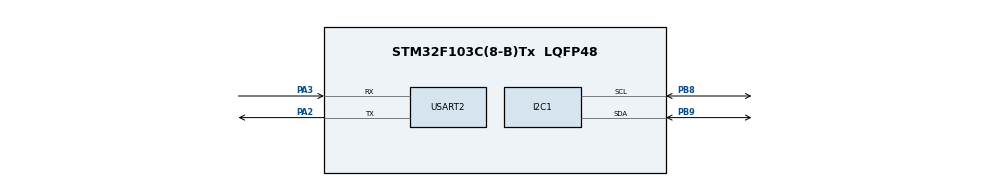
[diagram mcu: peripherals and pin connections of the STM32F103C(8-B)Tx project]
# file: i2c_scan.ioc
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Mcu.Family=STM32F1
Mcu.Name=STM32F103C(8-B)Tx
Mcu.Package=LQFP48
NVIC.PriorityGroup=NVIC_PRIORITYGROUP_4
PA13.Mode=Serial_Wire
PA13.Signal=SYS_JTMS-SWDIO
PA14.Mode=Serial_Wire
PA14.Signal=SYS_JTCK-SWCLK
PA2.Mode=Asynchronous
PA2.Signal=USART2_TX
PA3.Mode=Asynchronous
PA3.Signal=USART2_RX
PB8.Mode=I2C
PB8.Signal=I2C1_SCL
PB9.Mode=I2C
PB9.Signal=I2C1_SDA
PD0-OSC_IN.Mode=HSE-External-Oscillator
PD0-OSC_IN.Signal=RCC_OSC_IN
PD1-OSC_OUT.Mode=HSE-External-Oscillator
PD1-OSC_OUT.Signal=RCC_OSC_OUT
ProjectManager.HeapSize=0x200
ProjectManager.StackSize=0x400
ProjectManager.TargetToolchain=STM32CubeIDE
RCC.APB1Freq_Value=8000000
RCC.APB2Freq_Value=8000000
USART2.VirtualMode=VM_ASYNC
board=custom

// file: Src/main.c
/* USER CODE BEGIN Header */
/**
  ******************************************************************************
  * @file           : main.c
  * @brief          : Main program body
  ******************************************************************************
  * @attention
  *
  * <h2><center>&copy; Copyright (c) 2019 STMicroelectronics.
  * All rights reserved.</center></h2>
  *
  * This software component is licensed by ST under BSD 3-Clause license,
  * the "License"; You may not use this file except in compliance with the
  * License. You may obtain a copy of the License at:
  *                        opensource.org/licenses/BSD-3-Clause
  *
  ******************************************************************************
  */
/* USER CODE END Header */

#include "main.h"

/* USER CODE BEGIN PD */
#define  INT_BYPASS 0x37

/* USER CODE END PD */

I2C_HandleTypeDef hi2c1;

UART_HandleTypeDef huart2;

void SystemClock_Config(void);
static void MX_GPIO_Init(void);
static void MX_I2C1_Init(void);
static void MX_USART2_UART_Init(void);

/* USER CODE BEGIN 0 */
#ifdef __GNUC__
  /* With GCC/RAISONANCE, small printf (option LD Linker->Libraries->Small printf
     set to 'Yes') calls __io_putchar() */
  #define PUTCHAR_PROTOTYPE int __io_putchar(int ch)
#else
  #define PUTCHAR_PROTOTYPE int fputc(int ch, FILE *f)
#endif /* __GNUC__ */

/**
  * @brief  Retargets the C library printf function to the USART.
  * @param  None
  * @retval None
  */
PUTCHAR_PROTOTYPE
{
    /* Place your implementation of fputc here */
    /* e.g. write a character to the USART */
    HAL_UART_Transmit(&huart2, (uint8_t *)&ch, 1, 100);

    return ch;
}
/* USER CODE END 0 */

int main(void)
{

  /* MCU Configuration--------------------------------------------------------*/

  /* Reset of all peripherals, Initializes the Flash interface and the Systick. */
  HAL_Init();

  /* Configure the system clock */
  SystemClock_Config();

  /* Initialize all configured peripherals */
  MX_GPIO_Init();
  MX_I2C1_Init();
  MX_USART2_UART_Init();
  /* USER CODE BEGIN 2 */
  int i;
  /* USER CODE END 2 */

  /* Infinite loop */
  while (1)
  {

    /* USER CODE BEGIN 3 */
	  HAL_StatusTypeDef result;

		  for (i=1; i<128; i++)
		   	{
		   	  /*
		   	   * the HAL wants a left aligned i2c address
		   	   * &hi2c1 is the handle
		   	   * (uint16_t)(i<<1) is the i2c address left aligned
		   	   * retries 2
		   	   * timeout 2
		   	   */
		   	  result = HAL_I2C_IsDeviceReady(&hi2c1, (uint16_t)(i<<1), 2, 2000);
		   	  if (result != HAL_OK) // HAL_ERROR or HAL_BUSY or HAL_TIMEOUT
		   	  {
		   		  printf("."); // No ACK received at that address
		   	  }
		   	  if (result == HAL_OK)
		   	  {
		   		  printf("0x%X", i); // Received an ACK at that address
		   	  }
		   	}
		  HAL_Delay(100);

  }
  /* USER CODE END 3 */
}

void SystemClock_Config(void)
{
  RCC_OscInitTypeDef RCC_OscInitStruct = {0};
  RCC_ClkInitTypeDef RCC_ClkInitStruct = {0};

  /** Initializes the CPU, AHB and APB busses clocks
  */
  RCC_OscInitStruct.OscillatorType = RCC_OSCILLATORTYPE_HSI;
  RCC_OscInitStruct.HSIState = RCC_HSI_ON;
  RCC_OscInitStruct.HSICalibrationValue = RCC_HSICALIBRATION_DEFAULT;
  RCC_OscInitStruct.PLL.PLLState = RCC_PLL_NONE;
  if (HAL_RCC_OscConfig(&RCC_OscInitStruct) != HAL_OK)
  {
    Error_Handler();
  }
  /** Initializes the CPU, AHB and APB busses clocks
  */
  RCC_ClkInitStruct.ClockType = RCC_CLOCKTYPE_HCLK|RCC_CLOCKTYPE_SYSCLK
                              |RCC_CLOCKTYPE_PCLK1|RCC_CLOCKTYPE_PCLK2;
  RCC_ClkInitStruct.SYSCLKSource = RCC_SYSCLKSOURCE_HSI;
  RCC_ClkInitStruct.AHBCLKDivider = RCC_SYSCLK_DIV1;
  RCC_ClkInitStruct.APB1CLKDivider = RCC_HCLK_DIV1;
  RCC_ClkInitStruct.APB2CLKDivider = RCC_HCLK_DIV1;

  if (HAL_RCC_ClockConfig(&RCC_ClkInitStruct, FLASH_LATENCY_0) != HAL_OK)
  {
    Error_Handler();
  }
}

static void MX_I2C1_Init(void)
{

  hi2c1.Instance = I2C1;
  hi2c1.Init.ClockSpeed = 100000;
  hi2c1.Init.DutyCycle = I2C_DUTYCYCLE_2;
  hi2c1.Init.OwnAddress1 = 0;
  hi2c1.Init.AddressingMode = I2C_ADDRESSINGMODE_7BIT;
  hi2c1.Init.DualAddressMode = I2C_DUALADDRESS_DISABLE;
  hi2c1.Init.OwnAddress2 = 0;
  hi2c1.Init.GeneralCallMode = I2C_GENERALCALL_DISABLE;
  hi2c1.Init.NoStretchMode = I2C_NOSTRETCH_DISABLE;
  if (HAL_I2C_Init(&hi2c1) != HAL_OK)
  {
    Error_Handler();
  }

}

static void MX_USART2_UART_Init(void)
{

  huart2.Instance = USART2;
  huart2.Init.BaudRate = 115200;
  huart2.Init.WordLength = UART_WORDLENGTH_8B;
  huart2.Init.StopBits = UART_STOPBITS_1;
  huart2.Init.Parity = UART_PARITY_NONE;
  huart2.Init.Mode = UART_MODE_TX_RX;
  huart2.Init.HwFlowCtl = UART_HWCONTROL_NONE;
  huart2.Init.OverSampling = UART_OVERSAMPLING_16;
  if (HAL_UART_Init(&huart2) != HAL_OK)
  {
    Error_Handler();
  }

}

static void MX_GPIO_Init(void)
{

  /* GPIO Ports Clock Enable */
  __HAL_RCC_GPIOD_CLK_ENABLE();
  __HAL_RCC_GPIOA_CLK_ENABLE();
  __HAL_RCC_GPIOB_CLK_ENABLE();

}

void Error_Handler(void)
{
}

/************************ (C) COPYRIGHT STMicroelectronics *****END OF FILE****/
